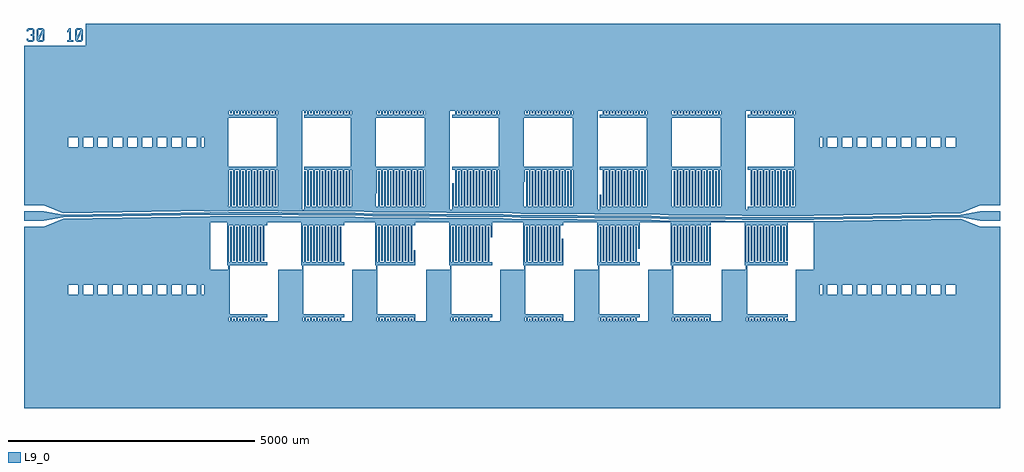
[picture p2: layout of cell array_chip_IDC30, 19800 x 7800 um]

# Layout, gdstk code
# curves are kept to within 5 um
from math import pi, radians
import gdstk
lib = gdstk.Library(unit=1e-6, precision=1e-09)
def R(c, l, rs):  # rectangles x0, y0, x1, y1
    for r in rs: c.add(gdstk.rectangle(r[:2], r[2:], *l))
def P(c, l, *ps):  # polygons
    for p in ps: c.add(gdstk.Polygon(p, *l))
L9_0 = (9, 0)

text_30_10 = lib.new_cell('text_30_10')
P(text_30_10, L9_0, [(-12739.25,2882.75),(-12708.5,2913.5),(-12616.25,2913.5),(-12585.5,2882.75),(-12585.5,2790.5),(-12601,2775),(-12585.5,2759.5),(-12585.5,2667.25),(-12616.25,2636.5),(-12708.5,2636.5),(-12739.25,2667.5),(-12739.25,2698.25),(-12708.5,2698.25),(-12708.5,2682.75),(-12693,2667.25),(-12631.5,2667.25),(-12616.25,2682.75),(-12616.25,2744.25),(-12631.5,2759.75),(-12662.25,2759.75),(-12662.25,2790.5),(-12631.5,2790.5),(-12616.25,2805.75),(-12616.25,2867.25),(-12631.5,2882.75),(-12693,2882.75),(-12708.5,2867.5),(-12708.5,2852),(-12739.25,2852)],
  [(-12508.5,2652),(-12385.5,2882.75),(-12416.25,2898),(-12539.25,2667.25)],
  [(-12539.25,2882.75),(-12508.5,2913.5),(-12493,2913.5),(-12493,2882.75),(-12508.5,2867.25),(-12508.5,2682.75),(-12493,2667.25),(-12431.5,2667.25),(-12416.25,2682.75),(-12416.25,2867.25),(-12431.75,2882.75),(-12493.25,2882.75),(-12493.25,2913.5),(-12416.25,2913.5),(-12385.5,2882.75),(-12385.5,2667.25),(-12416.25,2636.5),(-12508.5,2636.5),(-12539.25,2667.25)],
  [(-11908.5,2836.5),(-11877.5,2867.25),(-11877.5,2667.25),(-11923.75,2667.25),(-11923.75,2636.5),(-11800.75,2636.5),(-11800.75,2667.25),(-11847,2667.25),(-11847,2913.5),(-11877.75,2913.5),(-11923.75,2867.25),(-11923.75,2836.5)],
  [(-11723.75,2652),(-11600.75,2882.75),(-11631.5,2898),(-11754.5,2667.25)],
  [(-11754.75,2667.25),(-11754.75,2882.75),(-11724,2913.5),(-11708.5,2913.5),(-11708.5,2882.75),(-11724,2867.25),(-11724,2682.75),(-11708.5,2667.25),(-11647,2667.25),(-11631.5,2682.75),(-11631.5,2867.25),(-11647,2882.75),(-11708.5,2882.75),(-11708.5,2913.5),(-11631.5,2913.5),(-11600.75,2882.75),(-11600.75,2667.25),(-11631.5,2636.5),(-11723.75,2636.5)])

cell0 = lib.new_cell('Cell0')
R(cell0, L9_0, [(-9100,1397.5,-9000,1597.5)])

trl_section2 = lib.new_cell('trl_section2')
R(trl_section2, L9_0, [(5825,-122.5,6125,-107.5), (5825,-77.5,6125,-27.5), (5825,2.5,6125,107.5)])

groundplane_spoke = lib.new_cell('groundplane_spoke')
R(groundplane_spoke, L9_0, [(-4730,47.5,-4250,2082.5)])

input_coupler_half = lib.new_cell('input_coupler_half')
R(input_coupler_half, L9_0, [(0,-320,400,-220), (0,-100,400,0)])
P(input_coupler_half, L9_0, [(400,-220),(800,-55),(800,-320),(400,-320)],
  [(400,-100),(400,0),(800,0),(800,-25)])

input_coupler = lib.new_cell('input_coupler')
input_coupler.add(gdstk.Reference(input_coupler_half, (-9900,0), x_reflection=True))
input_coupler.add(gdstk.Reference(input_coupler_half, (-9900,0)))

chip_boarder_half = lib.new_cell('chip_boarder_half')
R(chip_boarder_half, L9_0, [(-9900,-3900,-9100,-320), (-9100,-3900,0,-3100), (-6240,-3100,0,-2135), (-6240,2135,0,3100)])
P(chip_boarder_half, L9_0, [(-9900,320),(-9100,320),(-9100,3100),(0,3100),(0,3900),(-8647,3900),(-8647,3450),(-9900,3450)])
chip_boarder_half.add(gdstk.Reference(input_coupler, (0,0)))

array_chip_base = lib.new_cell('array_chip_base')
R(array_chip_base, L9_0, [(-9100,-3100,-6125,-1597.5), (6125,-3100,9100,-1597.5), (-6125,-122.5,-5825,-107.5), (-5825,-122.5,4675,-107.5), (4675,-122.5,5825,-107.5), (-5825,-107.5,-4675,-2.5), (-4325,-107.5,-3175,-17.5), (-2825,-107.5,-1675,-32.5), (-1325,-107.5,-175,-47.5), (175,-107.5,1325,-62.5), (1675,-107.5,2825,-77.5), (3175,-107.5,4325,-92.5), (4675,-77.5,5825,-27.5), (3175,-62.5,4325,-12.5), (1675,-47.5,2825,2.5), (175,-32.5,1325,17.5), (-1325,-17.5,-175,32.5), (-2825,-2.5,-1675,47.5), (4675,2.5,5825,107.5), (-4325,12.5,-3175,62.5), (3175,17.5,4325,107.5), (-5825,27.5,-4675,77.5), (1675,32.5,2825,107.5), (175,47.5,1325,107.5), (-1325,62.5,-175,107.5), (-2825,77.5,-1675,107.5), (-4325,92.5,-3175,107.5), (-5825,107.5,-4675,122.5), (-4675,107.5,6125,122.5), (-9100,1597.5,-6125,3100), (6125,1597.5,9100,3100), (8647,3450,9900,3900)])
P(array_chip_base, L9_0, [(9100,25),(9100,-25),(6125,-77.5),(6125,-27.5)],
  [(-6125,77.5),(-6125,27.5),(-9100,-25),(-9100,25)],
  [(-4675,-2.5),(-4675,-107.5),(-4325,-107.5),(-4325,-17.5)],
  [(-3175,-17.5),(-3175,-107.5),(-2825,-107.5),(-2825,-32.5)],
  [(-1675,-32.5),(-1675,-107.5),(-1325,-107.5),(-1325,-47.5)],
  [(-175,-47.5),(-175,-107.5),(175,-107.5),(175,-62.5)],
  [(1325,-62.5),(1325,-107.5),(1675,-107.5),(1675,-77.5)],
  [(2825,-77.5),(2825,-107.5),(3175,-107.5),(3175,-92.5)],
  [(4325,-92.5),(4325,-107.5),(4675,-107.5)],
  [(4325,107.5),(4325,17.5),(4675,2.5),(4675,107.5)],
  [(2825,107.5),(2825,32.5),(3175,17.5),(3175,107.5)],
  [(1325,107.5),(1325,47.5),(1675,32.5),(1675,107.5)],
  [(-175,107.5),(-175,62.5),(175,47.5),(175,107.5)],
  [(-1675,107.5),(-1675,77.5),(-1325,62.5),(-1325,107.5)],
  [(-3175,107.5),(-3175,92.5),(-2825,77.5),(-2825,107.5)],
  [(-4675,107.5),(-4325,92.5),(-4325,107.5)],
  [(4325,-12.5),(4325,-62.5),(4675,-77.5),(4675,-27.5)],
  [(2825,2.5),(2825,-47.5),(3175,-62.5),(3175,-12.5)],
  [(1325,17.5),(1325,-32.5),(1675,-47.5),(1675,2.5)],
  [(-175,32.5),(-175,-17.5),(175,-32.5),(175,17.5)],
  [(-1675,47.5),(-1675,-2.5),(-1325,-17.5),(-1325,32.5)],
  [(-3175,62.5),(-3175,12.5),(-2825,-2.5),(-2825,47.5)],
  [(-4675,77.5),(-4675,27.5),(-4325,12.5),(-4325,62.5)],
  [(-9100,55),(-6125,107.5),(-6125,1397.5),(-9100,1397.5)],
  [(9100,55),(9100,1397.5),(6125,1397.5),(6125,2.5)],
  [(9100,-55),(6125,-107.5),(6125,-1397.5),(9100,-1397.5)],
  [(-9100,-55),(-9100,-1397.5),(-6125,-1397.5),(-6125,-2.5)])
r = gdstk.Reference(cell0, (15400,-2995)); r.repetition = gdstk.Repetition(10, 1, v1=(300,0), v2=(0,200)); array_chip_base.add(r)
r = gdstk.Reference(cell0, (0,-2995)); r.repetition = gdstk.Repetition(10, 1, v1=(300,0), v2=(0,200)); array_chip_base.add(r)
r = gdstk.Reference(cell0, (15400,0)); r.repetition = gdstk.Repetition(10, 1, v1=(300,0), v2=(0,200)); array_chip_base.add(r)
r = gdstk.Reference(cell0, (0,0)); r.repetition = gdstk.Repetition(10, 1, v1=(300,0), v2=(0,200)); array_chip_base.add(r)
array_chip_base.add(gdstk.Reference(trl_section2, (-11950,0), x_reflection=True))
array_chip_base.add(gdstk.Reference(trl_section2, (0,0)))
r = gdstk.Reference(groundplane_spoke, (-1510,-3170)); r.repetition = gdstk.Repetition(9, 1, v1=(1500,0), v2=(0,3030)); array_chip_base.add(r)
r = gdstk.Reference(groundplane_spoke, (-1510,52.5)); r.repetition = gdstk.Repetition(9, 1, v1=(1500,0), v2=(0,3030)); array_chip_base.add(r)
array_chip_base.add(gdstk.Reference(chip_boarder_half, (0,0), rotation=pi, x_reflection=True))
array_chip_base.add(gdstk.Reference(chip_boarder_half, (0,0)))

idc30_240_quad = lib.new_cell('IDC30_240_quad')
R(idc30_240_quad, L9_0, [(-1996,-2806.5,-1966,-2566.5), (-436,-2296.5,-406,-2056.5), (-436,-936.5,-406,-696.5), (-1996,-426.5,-1966,-186.5)])

idc30_480_quad = lib.new_cell('IDC30_480_quad')
R(idc30_480_quad, L9_0, [(1004,-2806.5,1034,-2326.5), (2564,-2536.5,2594,-2056.5), (2564,-936.5,2594,-456.5), (1004,-666.5,1034,-186.5)])

band_2_ext_idc30 = lib.new_cell('band_2_ext_IDC30')
R(band_2_ext_idc30, L9_0, [(3975,-2867.5,4035,-2807.5), (5475,-2867.5,5595,-2807.5), (5505,-2777.5,5535,-2057.5), (3975,-2057.5,4035,-1997.5), (5475,-2057.5,5595,-1997.5), (3975,-997.5,4035,-937.5), (5475,-997.5,5595,-937.5), (5505,-937.5,5535,-217.5), (3975,-187.5,4035,-127.5), (5475,-187.5,5595,-127.5)])

idc30_var_struct = lib.new_cell('IDC30_var_struct')
R(idc30_var_struct, L9_0, [(-4215,187.5,-4185,907.5), (-5775,217.5,-5745,937.5), (-5775,2057.5,-5745,2777.5), (-4215,2087.5,-4185,2807.5)])

idc30_seq = lib.new_cell('IDC30_seq')
R(idc30_seq, L9_0, [(-1215,187.5,-1185,667.5), (1785,187.5,1815,427.5), (-2775,457.5,-2745,937.5), (225,697.5,255,937.5), (-2775,2057.5,-2745,2537.5), (225,2057.5,255,2297.5), (-1215,2327.5,-1185,2807.5), (1785,2567.5,1815,2807.5)])
idc30_seq.add(gdstk.Reference(idc30_var_struct, (0,0)))

band_1a_ext_idc_30 = lib.new_cell('band_1a_ext_IDC_30')
R(band_1a_ext_idc_30, L9_0, [(-5775,127.5,-5715,187.5), (-5715,187.5,-5685,907.5), (-5775,937.5,-5715,997.5)])

band_1a_ext_idc30_pair = lib.new_cell('band_1a_ext_IDC30_pair')
band_1a_ext_idc30_pair.add(gdstk.Reference(band_1a_ext_idc_30, (0,2995), x_reflection=True))
band_1a_ext_idc30_pair.add(gdstk.Reference(band_1a_ext_idc_30, (0,0)))

idc30_finger_pair_ = lib.new_cell('IDC30_finger_pair_')
R(idc30_finger_pair_, L9_0, [(90,60,810,90), (60,120,780,150)])

band_1_ext_idc30 = lib.new_cell('band_1_ext_IDC30')
R(band_1_ext_idc30, L9_0, [(-5715,127.5,-5475,187.5), (-5655,217.5,-5625,937.5), (-5715,937.5,-5475,997.5)])
band_1_ext_idc30.add(gdstk.Reference(idc30_finger_pair_, (-5445,127.5), rotation=pi/2))

band_1_ext_idc30_pair = lib.new_cell('band_1_ext_IDC30_pair')
band_1_ext_idc30_pair.add(gdstk.Reference(band_1_ext_idc30, (0,2995), x_reflection=True))
band_1_ext_idc30_pair.add(gdstk.Reference(band_1_ext_idc30, (0,0)))

idc30_base = lib.new_cell('IDC30_base')
R(idc30_base, L9_0, [(0,0,60,750), (60,0,870,30), (810,35,870,750)])
r = gdstk.Reference(idc30_finger_pair_, (0,0)); r.repetition = gdstk.Repetition(1, 6, v1=(750,0), v2=(0,120)); idc30_base.add(r)

resonator_idc30_base = lib.new_cell('resonator_IDC30_base')
R(resonator_idc30_base, L9_0, [(870,20,1870,30), (870,35,1870,45)])
resonator_idc30_base.add(gdstk.Reference(idc30_base, (2740,0), rotation=pi, x_reflection=True))
resonator_idc30_base.add(gdstk.Reference(idc30_base, (0,0)))

idc30_cps10_resonators = lib.new_cell('IDC30_CPS10_resonators')
idc30_cps10_resonators.add(gdstk.Reference(idc30_240_quad, (-2401,-1), rotation=pi, x_reflection=True))
idc30_cps10_resonators.add(gdstk.Reference(idc30_480_quad, (3599,-1), rotation=pi, x_reflection=True))
r = gdstk.Reference(band_2_ext_idc30, (-9000,0)); r.repetition = gdstk.Repetition(4, 1, v1=(3000,0), v2=(0,2740)); idc30_cps10_resonators.add(r)
idc30_cps10_resonators.add(gdstk.Reference(idc30_var_struct, (9780,0), x_reflection=True))
idc30_cps10_resonators.add(gdstk.Reference(idc30_seq, (0,0)))
r = gdstk.Reference(band_1a_ext_idc30_pair, (0,0)); r.repetition = gdstk.Repetition(4, 1, v1=(3000,0), v2=(0,2740)); idc30_cps10_resonators.add(r)
r = gdstk.Reference(band_1_ext_idc30_pair, (0,0)); r.repetition = gdstk.Repetition(8, 1, v1=(1500,0), v2=(0,2740)); idc30_cps10_resonators.add(r)
r = gdstk.Reference(resonator_idc30_base, (-5775,-127.5), rotation=3*pi/2); r.repetition = gdstk.Repetition(1, 8, v1=(0,-1500), v2=(1500,0)); idc30_cps10_resonators.add(r)
r = gdstk.Reference(resonator_idc30_base, (5775,127.5), rotation=pi/2); r.repetition = gdstk.Repetition(1, 8, v1=(0,1500), v2=(-1500,0)); idc30_cps10_resonators.add(r)

array_chip_idc30 = lib.new_cell('array_chip_IDC30')
array_chip_idc30.add(gdstk.Reference(text_30_10, (2896.5,894.5)))
array_chip_idc30.add(gdstk.Reference(array_chip_base, (0,0)))
array_chip_idc30.add(gdstk.Reference(idc30_cps10_resonators, (0,0)))

lib.write_gds('array_chip_IDC30.gds')
